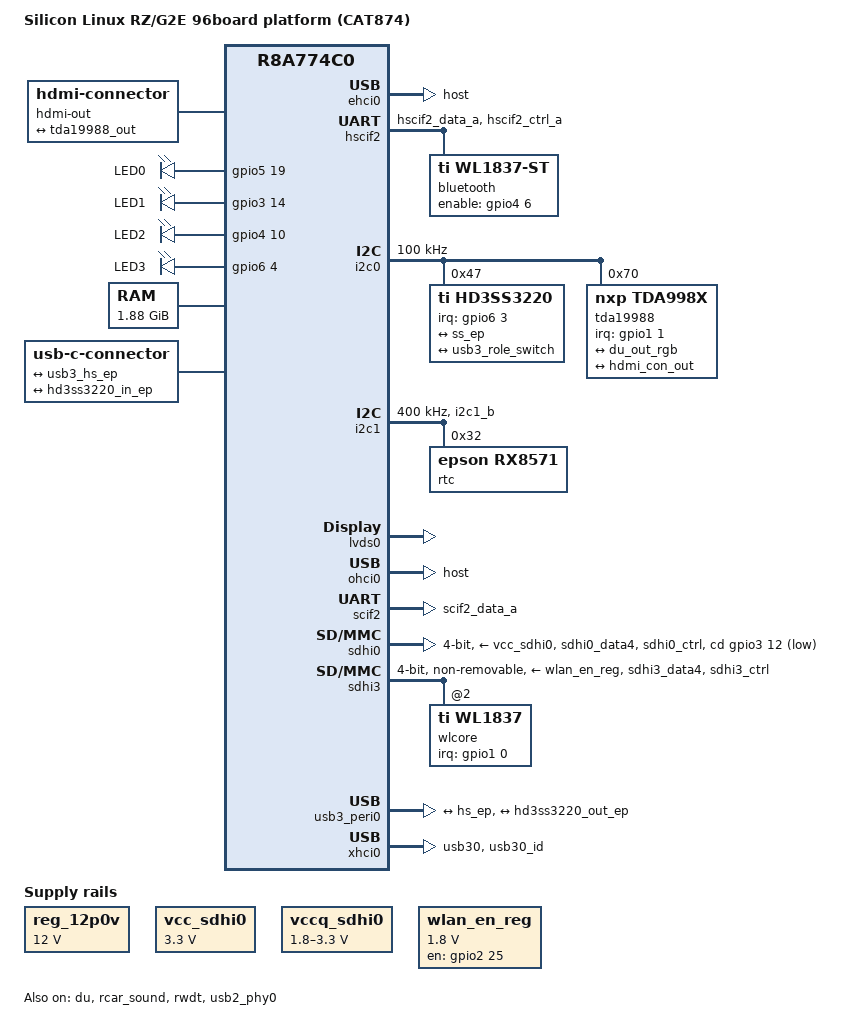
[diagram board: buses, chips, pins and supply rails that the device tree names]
// SPDX-License-Identifier: GPL-2.0
/*
 * Device Tree Source for the Silicon Linux RZ/G2E 96board platform (CAT874)
 *
 * Copyright (C) 2019 Renesas Electronics Corp.
 */

/dts-v1/;
#include "r8a774c0.dtsi"
#include <dt-bindings/gpio/gpio.h>
#include <dt-bindings/display/tda998x.h>

/ {
	model = "Silicon Linux RZ/G2E 96board platform (CAT874)";
	compatible = "si-linux,cat874", "renesas,r8a774c0";

	aliases {
		serial0 = &scif2;
		serial1 = &hscif2;
		mmc0 = &sdhi0;
		mmc1 = &sdhi3;
	};

	chosen {
		bootargs = "ignore_loglevel rw root=/dev/nfs ip=on";
		stdout-path = "serial0:115200n8";
	};

	hdmi-out {
		compatible = "hdmi-connector";
		type = "a";

		port {
			hdmi_con_out: endpoint {
				remote-endpoint = <&tda19988_out>;
			};
		};
	};

	leds {
		compatible = "gpio-leds";

		led0 {
			gpios = <&gpio5 19 GPIO_ACTIVE_HIGH>;
			label = "LED0";
		};

		led1 {
			gpios = <&gpio3 14 GPIO_ACTIVE_HIGH>;
			label = "LED1";
		};

		led2 {
			gpios = <&gpio4 10 GPIO_ACTIVE_HIGH>;
			label = "LED2";
		};

		led3 {
			gpios = <&gpio6 4 GPIO_ACTIVE_HIGH>;
			label = "LED3";
		};
	};

	memory@48000000 {
		device_type = "memory";
		/* first 128MB is reserved for secure area. */
		reg = <0x0 0x48000000 0x0 0x78000000>;
	};

	reg_12p0v: regulator-12p0v {
		compatible = "regulator-fixed";
		regulator-name = "D12.0V";
		regulator-min-microvolt = <12000000>;
		regulator-max-microvolt = <12000000>;
		regulator-boot-on;
		regulator-always-on;
	};

	sound: sound {
		compatible = "simple-audio-card";

		simple-audio-card,name = "CAT874 HDMI sound";
		simple-audio-card,format = "i2s";
		simple-audio-card,bitclock-master = <&sndcpu>;
		simple-audio-card,frame-master = <&sndcpu>;

		sndcodec: simple-audio-card,codec {
			sound-dai = <&tda19988>;
		};

		sndcpu: simple-audio-card,cpu {
			sound-dai = <&rcar_sound>;
		};
	};

	vcc_sdhi0: regulator-vcc-sdhi0 {
		compatible = "regulator-fixed";

		regulator-name = "SDHI0 Vcc";
		regulator-min-microvolt = <3300000>;
		regulator-max-microvolt = <3300000>;
		regulator-always-on;
		regulator-boot-on;
	};

	vccq_sdhi0: regulator-vccq-sdhi0 {
		compatible = "regulator-gpio";

		regulator-name = "SDHI0 VccQ";
		regulator-min-microvolt = <1800000>;
		regulator-max-microvolt = <3300000>;

		gpios = <&gpio3 13 GPIO_ACTIVE_HIGH>;
		gpios-states = <1>;
		states = <3300000 1>, <1800000 0>;
	};

	wlan_en_reg: fixedregulator {
		compatible = "regulator-fixed";
		regulator-name = "wlan-en-regulator";
		regulator-min-microvolt = <1800000>;
		regulator-max-microvolt = <1800000>;
		startup-delay-us = <70000>;

		gpio = <&gpio2 25 GPIO_ACTIVE_HIGH>;
		enable-active-high;
	};

	x13_clk: x13 {
		compatible = "fixed-clock";
		#clock-cells = <0>;
		clock-frequency = <74250000>;
	};

	connector {
		compatible = "usb-c-connector";
		label = "USB-C";
		data-role = "dual";

		ports {
			#address-cells = <1>;
			#size-cells = <0>;
			port@0 {
				reg = <0>;
				hs_ep: endpoint {
					remote-endpoint = <&usb3_hs_ep>;
				};
			};
			port@1 {
				reg = <1>;
				ss_ep: endpoint {
					remote-endpoint = <&hd3ss3220_in_ep>;
				};
			};
		};
	};
};

&audio_clk_a {
	clock-frequency = <22579200>;
};

&du {
	pinctrl-0 = <&du_pins>;
	pinctrl-names = "default";
	status = "okay";

	clocks = <&cpg CPG_MOD 724>,
		 <&cpg CPG_MOD 723>,
		 <&x13_clk>;
	clock-names = "du.0", "du.1", "dclkin.0";

	ports {
		port@0 {
			endpoint {
				remote-endpoint = <&tda19988_in>;
			};
		};
	};
};

&ehci0 {
	dr_mode = "host";
	status = "okay";
};

&extal_clk {
	clock-frequency = <48000000>;
};

&hscif2 {
	pinctrl-0 = <&hscif2_pins>;
	pinctrl-names = "default";

	uart-has-rtscts;
	status = "okay";

	bluetooth {
		compatible = "ti,wl1837-st";
		enable-gpios = <&gpio4 6 GPIO_ACTIVE_HIGH>;
	};
};

&i2c0 {
	status = "okay";
	clock-frequency = <100000>;

	hd3ss3220@47 {
		compatible = "ti,hd3ss3220";
		reg = <0x47>;
		interrupt-parent = <&gpio6>;
		interrupts = <3 IRQ_TYPE_LEVEL_LOW>;

		ports {
			#address-cells = <1>;
			#size-cells = <0>;
			port@0 {
				reg = <0>;
				hd3ss3220_in_ep: endpoint {
					remote-endpoint = <&ss_ep>;
				};
			};
			port@1 {
				reg = <1>;
				hd3ss3220_out_ep: endpoint {
					remote-endpoint = <&usb3_role_switch>;
				};
			};
		};
	};

	tda19988: tda19988@70 {
		compatible = "nxp,tda998x";
		reg = <0x70>;
		interrupt-parent = <&gpio1>;
		interrupts = <1 IRQ_TYPE_LEVEL_LOW>;

		video-ports = <0x234501>;

		#sound-dai-cells = <0>;
		audio-ports = <TDA998x_I2S 0x03>;
		clocks = <&rcar_sound 1>;

		ports {
			#address-cells = <1>;
			#size-cells = <0>;

			port@0 {
				reg = <0>;
				tda19988_in: endpoint {
					remote-endpoint = <&du_out_rgb>;
				};
			};

			port@1 {
				reg = <1>;
				tda19988_out: endpoint {
					remote-endpoint = <&hdmi_con_out>;
				};
			};
		};
	};
};

&i2c1 {
	pinctrl-0 = <&i2c1_pins>;
	pinctrl-names = "default";

	status = "okay";
	clock-frequency = <400000>;

	rtc@32 {
		compatible = "epson,rx8571";
		reg = <0x32>;
	};
};

&lvds0 {
	status = "okay";

	clocks = <&cpg CPG_MOD 727>, <&x13_clk>, <&extal_clk>;
	clock-names = "fck", "dclkin.0", "extal";
};

&ohci0 {
	dr_mode = "host";
	status = "okay";
};

&pcie_bus_clk {
	clock-frequency = <100000000>;
};

&pciec0 {
	/* Map all possible DDR as inbound ranges */
	dma-ranges = <0x42000000 0 0x40000000 0 0x40000000 0 0x80000000>;
};

&pfc {
	du_pins: du {
		groups = "du_rgb888", "du_clk_out_0", "du_sync", "du_disp",
			 "du_clk_in_0";
		function = "du";
	};

	hscif2_pins: hscif2 {
		groups = "hscif2_data_a", "hscif2_ctrl_a";
		function = "hscif2";
	};

	i2c1_pins: i2c1 {
		groups = "i2c1_b";
		function = "i2c1";
	};

	scif2_pins: scif2 {
		groups = "scif2_data_a";
		function = "scif2";
	};

	sdhi0_pins: sd0 {
		groups = "sdhi0_data4", "sdhi0_ctrl";
		function = "sdhi0";
		power-source = <3300>;
	};

	sdhi0_pins_uhs: sd0_uhs {
		groups = "sdhi0_data4", "sdhi0_ctrl";
		function = "sdhi0";
		power-source = <1800>;
	};

	sdhi3_pins: sd3 {
		groups = "sdhi3_data4", "sdhi3_ctrl";
		function = "sdhi3";
		power-source = <1800>;
	};

	sound_clk_pins: sound_clk {
		groups = "audio_clkout1_a";
		function = "audio_clk";
	};

	sound_pins: sound {
		groups = "ssi01239_ctrl", "ssi0_data";
		function = "ssi";
	};

	usb30_pins: usb30 {
		groups = "usb30", "usb30_id";
		function = "usb30";
	};
};

&rcar_sound {
	pinctrl-0 = <&sound_pins>, <&sound_clk_pins>;
	pinctrl-names = "default";

	/* Single DAI */
	#sound-dai-cells = <0>;

	/* audio_clkout0/1/2/3 */
	#clock-cells = <1>;
	clock-frequency = <11289600>;

	status = "okay";

	rcar_sound,dai {
		dai0 {
			playback = <&ssi0>, <&src0>, <&dvc0>;
		};
	};
};

&rwdt {
	timeout-sec = <60>;
	status = "okay";
};

&scif2 {
	pinctrl-0 = <&scif2_pins>;
	pinctrl-names = "default";

	status = "okay";
};

&sdhi0 {
	pinctrl-0 = <&sdhi0_pins>;
	pinctrl-1 = <&sdhi0_pins_uhs>;
	pinctrl-names = "default", "state_uhs";

	vmmc-supply = <&vcc_sdhi0>;
	vqmmc-supply = <&vccq_sdhi0>;
	cd-gpios = <&gpio3 12 GPIO_ACTIVE_LOW>;
	bus-width = <4>;
	sd-uhs-sdr50;
	sd-uhs-sdr104;
	status = "okay";
};

&sdhi3 {
	status = "okay";
	pinctrl-0 = <&sdhi3_pins>;
	pinctrl-names = "default";

	vmmc-supply = <&wlan_en_reg>;
	bus-width = <4>;
	non-removable;
	cap-power-off-card;
	keep-power-in-suspend;

	#address-cells = <1>;
	#size-cells = <0>;
	wlcore: wlcore@2 {
		compatible = "ti,wl1837";
		reg = <2>;
		interrupt-parent = <&gpio1>;
		interrupts = <0 IRQ_TYPE_LEVEL_HIGH>;
	};
};

&usb2_phy0 {
	renesas,no-otg-pins;
	status = "okay";
};

&usb3_peri0 {
	companion = <&xhci0>;
	status = "okay";
	usb-role-switch;

	ports {
		#address-cells = <1>;
		#size-cells = <0>;
		port@0 {
			reg = <0>;
			usb3_hs_ep: endpoint {
				remote-endpoint = <&hs_ep>;
			};
		};
		port@1 {
			reg = <1>;
			usb3_role_switch: endpoint {
				remote-endpoint = <&hd3ss3220_out_ep>;
			};
		};
	};
};

&xhci0 {
	pinctrl-0 = <&usb30_pins>;
	pinctrl-names = "default";

	status = "okay";
};
